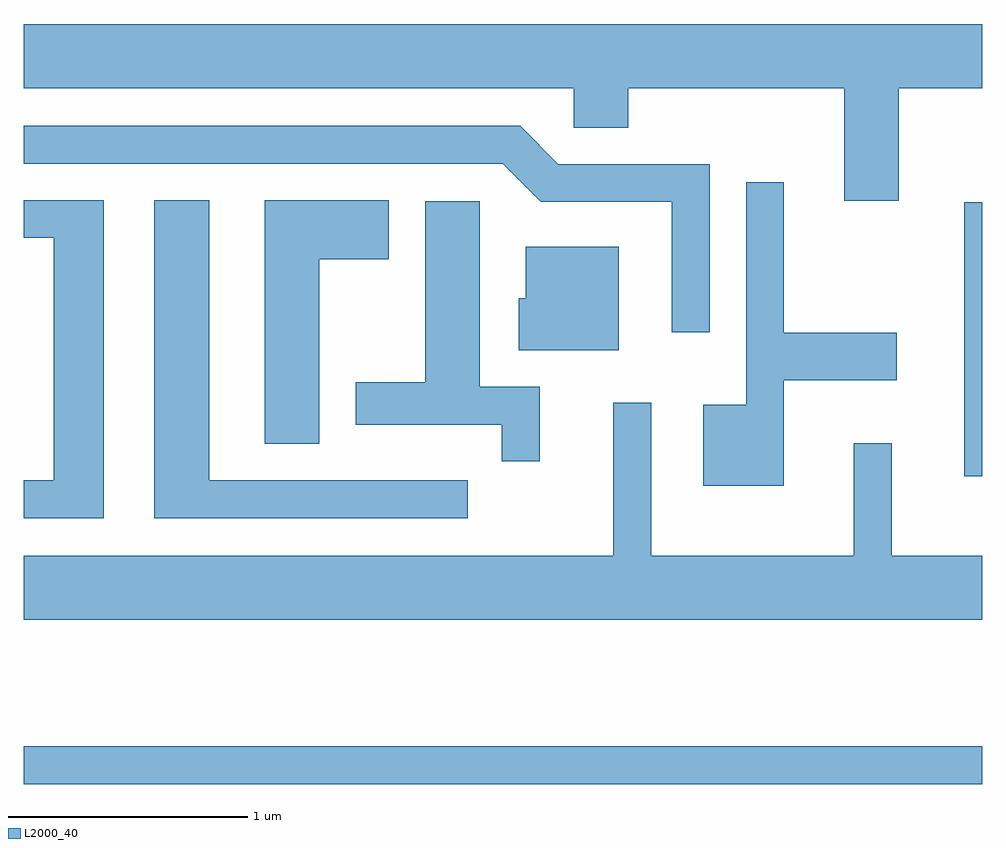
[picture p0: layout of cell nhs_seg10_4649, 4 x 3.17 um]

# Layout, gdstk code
import gdstk
lib = gdstk.Library(unit=1e-6, precision=1e-09)
def R(c, l, rs):  # rectangles x0, y0, x1, y1
    for r in rs: c.add(gdstk.rectangle(r[:2], r[2:], *l))
def P(c, l, *ps):  # polygons
    for p in ps: c.add(gdstk.Polygon(p, *l))
L2000_40 = (2000, 40)

nhs_seg10_4649 = lib.new_cell('nhs_seg10_4649')
R(nhs_seg10_4649, L2000_40, [(321.611,2168.731,325.611,2168.889), (325.536,2170.016,325.611,2171.159)])
P(nhs_seg10_4649, L2000_40, [(325.264,2171.636),(325.611,2171.636),(325.611,2171.904),(321.611,2171.904),(321.611,2171.636),(323.906,2171.636),(323.906,2171.471),(324.134,2171.471),(324.134,2171.636),(325.036,2171.636),(325.036,2171.166),(325.264,2171.166)],
  [(324.474,2171.319),(323.842,2171.319),(323.682,2171.479),(321.611,2171.479),(321.611,2171.321),(323.609,2171.321),(323.769,2171.161),(324.316,2171.161),(324.316,2170.618),(324.474,2170.618)],
  [(324.784,2170.416),(325.254,2170.416),(325.254,2170.614),(324.784,2170.614),(324.784,2171.243),(324.626,2171.243),(324.626,2170.314),(324.446,2170.314),(324.446,2169.976),(324.784,2169.976)],
  [(321.944,2171.169),(321.611,2171.169),(321.611,2171.011),(321.736,2171.011),(321.736,2169.999),(321.611,2169.999),(321.611,2169.841),(321.944,2169.841)],
  [(323.463,2169.999),(322.384,2169.999),(322.384,2171.169),(322.156,2171.169),(322.156,2169.841),(323.463,2169.841)],
  [(322.844,2170.921),(323.134,2170.921),(323.134,2171.169),(322.616,2171.169),(322.616,2170.151),(322.844,2170.151)],
  [(323.764,2170.389),(323.514,2170.389),(323.514,2171.164),(323.286,2171.164),(323.286,2170.409),(322.996,2170.409),(322.996,2170.231),(323.606,2170.231),(323.606,2170.078),(323.764,2170.078)],
  [(324.094,2170.974),(323.706,2170.974),(323.706,2170.759),(323.676,2170.759),(323.676,2170.541),(324.094,2170.541)],
  [(325.611,2169.684),(325.234,2169.684),(325.234,2170.153),(325.076,2170.153),(325.076,2169.684),(324.229,2169.684),(324.229,2170.323),(324.071,2170.323),(324.071,2169.684),(321.611,2169.684),(321.611,2169.416),(325.611,2169.416)])

lib.write_gds('nhs_seg10_4649.gds')
